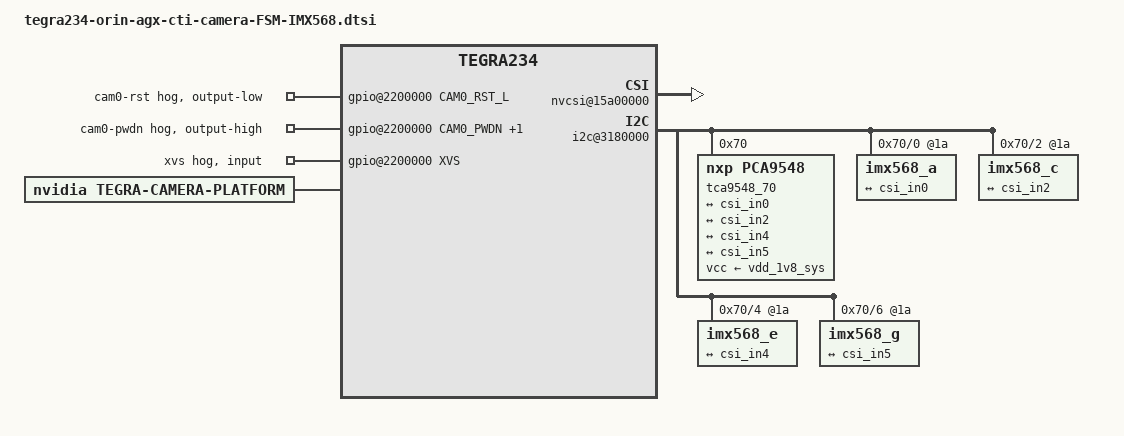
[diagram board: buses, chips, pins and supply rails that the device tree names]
/*
 * Copyright (c) 2022, Connect Tech Inc.  All rights reserved.
 *
 * This program is free software; you can redistribute it and/or modify it
 * under the terms and conditions of the GNU General Public License,
 * version 2, as published by the Free Software Foundation.
 *
 * This program is distributed in the hope it will be useful, but WITHOUT
 * ANY WARRANTY; without even the implied warranty of MERCHANTABILITY or
 * FITNESS FOR A PARTICULAR PURPOSE.  See the GNU General Public License for
 * more details.
 *
 * You should have received a copy of the GNU General Public License
 * along with this program.  If not, see <http://www.gnu.org/licenses/>.
 */

#include "dt-bindings/gpio/tegra234-gpio.h"
#include "dt-bindings/clock/tegra234-clock.h"
#include "tegra234-orin-agx-cti-csi.dtsi"
#include "tegra234-orin-agx-cti-fsm-imx568-modes-header.dtsi"

#define CAM0_RST_L  TEGRA234_MAIN_GPIO(I, 0)
#define CAM0_PWDN   TEGRA234_MAIN_GPIO(H, 7)
#define CRESETB     TEGRA234_MAIN_GPIO(AC, 0)
#define XVS         TEGRA234_MAIN_GPIO(N, 1)

/ {



    tegra-capture-vi {
        status = "okay";
        num-channels = <8>;
        ports {
        #address-cells = <1>;
        #size-cells = <0>;
        status = "okay";

            port@0 {
                reg = <0>;
                status = "okay";
                vi_in0: endpoint {
                    status = "okay";
                    vc-id = <0>;
                    port-index = <0>;
                    bus-width = <4>;
                    remote-endpoint = <&csi_out0>;
                };
            };
            port@2 {
                reg = <2>;
                status = "okay";
                vi_in2: endpoint {
                    status = "okay";
                    vc-id = <0>;
                    port-index = <2>;
                    bus-width = <4>;
                    remote-endpoint = <&csi_out2>;
                };
            };
            port@4 {
                reg = <4>;
                status = "okay";
                vi_in4: endpoint {
                    status = "okay";
                    vc-id = <0>;
                    port-index = <4>;
                    bus-width = <4>;
                    remote-endpoint = <&csi_out4>;
                };
            };
            port@5 {
                reg = <5>;
                status = "okay";
                vi_in5: endpoint {
                    status = "okay";
                    vc-id = <0>;
                    port-index = <5>;
                    bus-width = <4>;
                    remote-endpoint = <&csi_out5>;
                };
            };
            
        };
    };

    host1x@13e00000 {
        nvcsi@15a00000 {
            num-channels = <8>;
            #address-cells = <1>;
            #size-cells = <0>;
                
            status = "okay";
            channel@0 {
                reg = <0>;
                status = "okay";
                ports {
                    #address-cells = <1>;
                    #size-cells = <0>;

                    port@0 {
                        status = "okay";
                        reg = <0>; 
                        csi_in0: endpoint@0 {
                            status = "okay";
                            bus-width = <4>;
                            port-index = <0>;
                            remote-endpoint = <&cam_out0>;
                        };
                    };
                    port@1 {
                        status = "okay";
                        reg = <1>;
                        csi_out0: endpoint@1 {
                            status = "okay";
                            bus-width = <4>;
                            port-index = <0>;
                            remote-endpoint = <&vi_in0>;
                        };
                    };
                };
            };
            channel@2 {
                reg = <2>;
                status = "okay";
                ports {
                    #address-cells = <1>;
                    #size-cells = <0>;

                    port@0 {
                        status = "okay";
                        reg = <0>; 
                        csi_in2: endpoint@4 {
                            status = "okay";
                            bus-width = <4>;
                            port-index = <2>;
                            remote-endpoint = <&cam_out2>;
                        };
                    };
                    port@1 {
                        status = "okay";
                        reg = <1>;
                        csi_out2: endpoint@5 {
                            status = "okay";
                            bus-width = <4>;
                            port-index = <2>;
                            remote-endpoint = <&vi_in2>;
                        };
                    };
                };
            };
            channel@4 {
                reg = <4>;
                status = "okay";
                ports {
                    #address-cells = <1>;
                    #size-cells = <0>;

                    port@0 {
                        status = "okay";
                        reg = <0>; 
                        csi_in4: endpoint@8 {
                            status = "okay";
                            bus-width = <4>;
                            port-index = <4>;
                            remote-endpoint = <&cam_out4>;
                        };
                    };
                    port@1 {
                        status = "okay";
                        reg = <1>;
                        csi_out4: endpoint@9 {
                            status = "okay";
                            bus-width = <4>;
                            port-index = <4>;
                            remote-endpoint = <&vi_in4>;
                        };
                    };
                };
            };
            channel@5 {
                reg = <5>;
                status = "okay";
                ports {
                    #address-cells = <1>;
                    #size-cells = <0>;

                    port@0 {
                        status = "okay";
                        reg = <0>; 
                        csi_in5: endpoint@10 {
                            status = "okay";
                            bus-width = <4>;
                            port-index = <6>;
                            remote-endpoint = <&cam_out5>;
                        };
                    };
                    port@1 {
                        status = "okay";
                        reg = <1>;
                        csi_out5: endpoint@11 {
                            status = "okay";
                            bus-width = <4>;
                            port-index = <6>;
                            remote-endpoint = <&vi_in5>;
                        };
                    };
                };
            };
        };
    };
    framos_platform_adapter {
        cam,use-cam-gpio = "true";
    };

    gpio@2200000 {
        camera-control-output-low {
            gpio-hog;
            output-low;
            gpios = <CAM0_RST_L 0>;
            label = "cam0-rst";
            status = "okay";
        };
        camera-control-output-high {
            gpio-hog;
            output-high;
            gpios = <CAM0_PWDN 0 CRESETB 0>;
            label = "cam0-pwdn", "cresetb";
            status = "okay";
        };
        camera-control-input {
            gpio-hog;
            input;
            gpios = <XVS 0>;
            label = "xvs";
            status = "okay";
        };

    };


    //I2C_3  
    i2c@3180000{
        tca9548_70: tca9548@70 {
            compatible = "nxp,pca9548";
            reg = <0x70>;
            #address-cells = <1>;
            #size-cells = <0>;
            skip_mux_detect;
            vcc-supply = <&vdd_1v8_sys>;
            force_bus_start = <30>;

            i2c@0 {
                reg = <0>;
                i2c-mux,deselect-on-exit;
                #address-cells = <1>;
                #size-cells = <0>;
                
                imx568_a@1a {
                    status = "okay";
                    SENSOR_COMMON
                    devnode = "video0";
#define TEGRA_SINTERFACE "serial_a"

                    SENSOR_MODE0
                    SENSOR_MODE1
                    SENSOR_MODE2
                    SENSOR_MODE3
                    SENSOR_MODE4
                    SENSOR_MODE5
                    SENSOR_MODE6
                    SENSOR_MODE7

                    ports {
                        #address-cells = <1>;
                        #size-cells = <0>;
                        port@0 {
                            reg = <0>;
                            cam_out0: endpoint {
                                port-index = <0>;
                                bus-width = <4>;
                                remote-endpoint = <&csi_in0>;
                            };
                        };
                    };
                };
            };
       
            i2c@2 {
                reg = <2>;
                i2c-mux,deselect-on-exit;
                #address-cells = <1>;
                #size-cells = <0>;
                
                imx568_c@1a {
                    status = "okay";
                    SENSOR_COMMON
                    devnode = "video1";
#undef TEGRA_SINTERFACE
#define TEGRA_SINTERFACE "serial_c"

                    SENSOR_MODE0
                    SENSOR_MODE1
                    SENSOR_MODE2
                    SENSOR_MODE3
                    SENSOR_MODE4
                    SENSOR_MODE5
                    SENSOR_MODE6
                    SENSOR_MODE7

                    ports {
                        #address-cells = <1>;
                        #size-cells = <0>;
                        port@0 {
                            reg = <0>;
                            cam_out2: endpoint {
                                port-index = <2>;
                                bus-width = <4>;
                                remote-endpoint = <&csi_in2>;
                            };
                        };
                    };
                };
            };

            i2c@4 {
                reg = <4>;
                i2c-mux,deselect-on-exit;
                #address-cells = <1>;
                #size-cells = <0>;
                
                imx568_e@1a {
                    status = "okay";
                    SENSOR_COMMON
                    devnode = "video2";
#undef TEGRA_SINTERFACE
#define TEGRA_SINTERFACE "serial_e"

                    SENSOR_MODE0
                    SENSOR_MODE1
                    SENSOR_MODE2
                    SENSOR_MODE3
                    SENSOR_MODE4
                    SENSOR_MODE5
                    SENSOR_MODE6
                    SENSOR_MODE7

                    ports {
                        #address-cells = <1>;
                        #size-cells = <0>;
                        port@0 {
                            reg = <0>;
                            cam_out4: endpoint {
                                port-index = <4>;
                                bus-width = <4>;
                                remote-endpoint = <&csi_in4>;
                            };
                        };
                    };
                };
            };

            i2c@6 {
                reg = <6>;
                i2c-mux,deselect-on-exit;
                #address-cells = <1>;
                #size-cells = <0>;
                
                imx568_g@1a {
                    status = "okay";
                    SENSOR_COMMON
                    devnode = "video3";
#undef TEGRA_SINTERFACE
#define TEGRA_SINTERFACE "serial_g"

                    SENSOR_MODE0
                    SENSOR_MODE1
                    SENSOR_MODE2
                    SENSOR_MODE3
                    SENSOR_MODE4
                    SENSOR_MODE5
                    SENSOR_MODE6
                    SENSOR_MODE7

                    ports {
                        #address-cells = <1>;
                        #size-cells = <0>;
                        port@0 {
                            reg = <0>;
                            cam_out5: endpoint {
                                port-index = <6>;
                                bus-width = <4>;
                                remote-endpoint = <&csi_in5>;
                            };
                        };
                    };
                };
            };
        };
    };



    tegra-camera-platform {
        compatible = "nvidia, tegra-camera-platform";
        num_csi_lanes = <16>;
        max_lane_speed = <1500000>;
        min_bits_per_pixel = <10>;
        vi_peak_byte_per_pixel = <2>;
        vi_bw_margin_pct = <25>;
        isp_peak_byte_per_pixel = <5>;
        isp_bw_margin_pct = <25>;

        modules {
            module0 {
                status = "okay";
                badge = "imx568_bottomleft_framos";
                orientation = "1"; 
                position = "bottomleft";
                 drivernode0 {
                    status = "okay";
                    devname = "imx568 30-001a";
                    pcl_id = "v4l2_sensor";
                    proc-device-tree = "/proc/device-tree/i2c@3180000/tca9548@70/i2c@0/imx568_a@1a";
                };
            };
            module1 {
                status = "okay";
                badge = "imx568_centerright_framos";
                orientation = "1"; 
                position = "centerright";
                 drivernode0 {
                    status = "okay";
                    devname = "imx568 32-001a";
                    pcl_id = "v4l2_sensor";
                    proc-device-tree = "/proc/device-tree/i2c@3180000/tca9548@70/i2c@2/imx568_c@1a";
                };
            };
            module2 {
                status = "okay";
                badge = "imx568_bottomright_framos";
                orientation = "1"; 
                position = "bottomright";
                 drivernode0 {
                    status = "okay";
                    devname = "imx568 34-001a";
                    pcl_id = "v4l2_sensor";
                    proc-device-tree = "/proc/device-tree/i2c@3180000/tca9548@70/i2c@4/imx568_e@1a";
                };
            };
            module3 {
                status = "okay";
                badge = "imx568_topright_framos";
                orientation = "1"; 
                position = "topright";
                 drivernode0 {
                    status = "okay";
                    devname = "imx568 36-001a";
                    pcl_id = "v4l2_sensor";
                    proc-device-tree = "/proc/device-tree/i2c@3180000/tca9548@70/i2c@6/imx568_g@1a";
                };
            };
        };
    };
};
